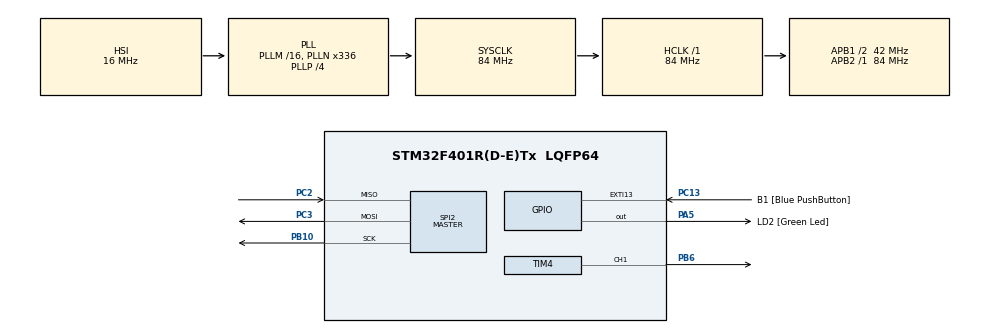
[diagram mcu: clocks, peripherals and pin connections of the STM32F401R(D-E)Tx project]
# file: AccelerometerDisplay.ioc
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Mcu.Family=STM32F4
Mcu.Name=STM32F401R(D-E)Tx
Mcu.Package=LQFP64
NVIC.PriorityGroup=NVIC_PRIORITYGROUP_4
NVIC.TIM5_IRQn=true\:0\:0\:false\:false\:true\:false\:true\:true
NVIC.TimeBase=TIM5_IRQn
NVIC.TimeBaseIP=TIM5
PA13.GPIO_Label=TMS
PA13.Signal=SYS_JTMS-SWDIO
PA14.GPIO_Label=TCK
PA14.Signal=SYS_JTCK-SWCLK
PA2.GPIO_Label=USART_TX
PA2.GPIO_Mode=GPIO_MODE_AF_PP
PA2.GPIO_PuPd=GPIO_NOPULL
PA2.GPIO_Speed=GPIO_SPEED_FREQ_LOW
PA2.Signal=USART2_TX
PA3.GPIO_Label=USART_RX
PA3.GPIO_Mode=GPIO_MODE_AF_PP
PA3.GPIO_PuPd=GPIO_NOPULL
PA3.GPIO_Speed=GPIO_SPEED_FREQ_LOW
PA3.Signal=USART2_RX
PA5.GPIO_Label=LD2 [Green Led]
PA5.GPIO_Mode=GPIO_MODE_OUTPUT_PP
PA5.GPIO_PuPd=GPIO_NOPULL
PA5.GPIO_Speed=GPIO_SPEED_FREQ_LOW
PA5.Signal=GPIO_Output
PB10.Mode=Full_Duplex_Master
PB10.Signal=SPI2_SCK
PB3.GPIO_Label=SWO
PB3.Signal=SYS_JTDO-SWO
PB6.Signal=S_TIM4_CH1
PC13-ANTI_TAMP.GPIO_Label=B1 [Blue PushButton]
PC13-ANTI_TAMP.GPIO_ModeDefaultEXTI=GPIO_MODE_IT_FALLING
PC13-ANTI_TAMP.GPIO_PuPd=GPIO_NOPULL
PC13-ANTI_TAMP.Signal=GPXTI13
PC14-OSC32_IN.Signal=RCC_OSC32_IN
PC15-OSC32_OUT.Signal=RCC_OSC32_OUT
PC2.Mode=Full_Duplex_Master
PC2.Signal=SPI2_MISO
PC3.Mode=Full_Duplex_Master
PC3.Signal=SPI2_MOSI
PH0\ -\ OSC_IN.Signal=RCC_OSC_IN
PH1\ -\ OSC_OUT.Signal=RCC_OSC_OUT
ProjectManager.HeapSize=0x200
ProjectManager.StackSize=0x400
ProjectManager.TargetToolchain=STM32CubeIDE
RCC.AHBFreq_Value=84000000
RCC.APB1CLKDivider=RCC_HCLK_DIV2
RCC.APB1Freq_Value=42000000
RCC.APB1TimFreq_Value=84000000
RCC.APB2Freq_Value=84000000
RCC.APB2TimFreq_Value=84000000
RCC.CortexFreq_Value=84000000
RCC.HCLKFreq_Value=84000000
RCC.HSE_VALUE=8000000
RCC.HSI_VALUE=16000000
RCC.LSE_VALUE=32768
RCC.PLLN=336
RCC.PLLP=RCC_PLLP_DIV4
RCC.PLLQ=7
RCC.SYSCLKFreq_VALUE=84000000
RCC.SYSCLKSource=RCC_SYSCLKSOURCE_PLLCLK
RCC.VCOOutputFreq_Value=336000000
SH.S_TIM4_CH1.0=TIM4_CH1,PWM Generation1 CH1
SPI2.Direction=SPI_DIRECTION_2LINES
SPI2.Mode=SPI_MODE_MASTER
SPI2.VirtualType=VM_MASTER
TIM4.AutoReloadPreload=TIM_AUTORELOAD_PRELOAD_ENABLE
TIM4.Channel-PWM\ Generation1\ CH1=TIM_CHANNEL_1
TIM4.ClockDivision=TIM_CLOCKDIVISION_DIV1
TIM4.Period=1000-1
TIM4.Prescaler=84-1
TIM4.Pulse-PWM\ Generation1\ CH1=500
VP_SYS_VS_tim5.Mode=TIM5
VP_TIM4_VS_ClockSourceINT.Mode=Internal
board=NUCLEO-F401RE

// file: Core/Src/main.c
/* USER CODE BEGIN Header */
/**
  ******************************************************************************
  * @file           : main.c
  * @brief          : Main program body
  ******************************************************************************
  * @attention
  *
  * Copyright (c) 2022 STMicroelectronics.
  * All rights reserved.
  *
  * This software is licensed under terms that can be found in the LICENSE file
  * in the root directory of this software component.
  * If no LICENSE file comes with this software, it is provided AS-IS.
  *
  ******************************************************************************
  */
/* USER CODE END Header */
#include "main.h"

/* USER CODE BEGIN Includes */
#include <stdio.h>
#include "FreeRTOS.h"
#include "task.h"
#include "FreeRTOSConfig.h"

/* USER CODE END Includes */

SPI_HandleTypeDef hspi2;

TIM_HandleTypeDef htim4;

/* USER CODE BEGIN PV */
#define DWT_CTRL ((volatile uint32_t*)0xE0001000)

/* USER CODE END PV */

void SystemClock_Config(void);
static void MX_GPIO_Init(void);
static void MX_SPI2_Init(void);
static void MX_TIM4_Init(void);
/* USER CODE BEGIN PFP */
static void task1_handler(void * parameters);
static void task2_handler(void * parameters);

/* USER CODE END PFP */

int main(void)
{
  /* USER CODE BEGIN 1 */
  TaskHandle_t task1_handle;
  TaskHandle_t task2_handle;
  BaseType_t status;

  /* USER CODE END 1 */

  /* MCU Configuration--------------------------------------------------------*/

  /* Reset of all peripherals, Initializes the Flash interface and the Systick. */
  HAL_Init();

  /* Configure the system clock */
  SystemClock_Config();

  /* Initialize all configured peripherals */
  MX_GPIO_Init();
  MX_SPI2_Init();
  MX_TIM4_Init();
  /* USER CODE BEGIN 2 */
  uint8_t test[4];
  test[0] = 0xAA;
  test[1] = 0x55;
  test[2] = 0x11;
  test[3] = 0x33;
  HAL_TIM_PWM_Start(&htim4, TIM_CHANNEL_1);
  HAL_SPI_Transmit(&hspi2, test, sizeof(test), 1000);
  TIM4->CCR1 = 0;
  while(1);
  *DWT_CTRL |= (1<<0);  // Turn on cycle counting

  SEGGER_SYSVIEW_Conf();

  SEGGER_SYSVIEW_Start();

  status = xTaskCreate(task1_handler, "Task 1", 200, "Hello world from Task-1", 2, &task1_handle);
  configASSERT(status == pdPASS);

  status = xTaskCreate(task2_handler, "Task 2", 200, "Hello world from Task-2", 2, &task2_handle);
  configASSERT(status == pdPASS);

  //start the freeRTOS scheduler
  vTaskStartScheduler();

  //if the control comes here, then the launch has failed due to insuficient memory in heap
  /* USER CODE END 2 */

  /* Infinite loop */
  while (1)
  {

  }
}

void SystemClock_Config(void)
{
  RCC_OscInitTypeDef RCC_OscInitStruct = {0};
  RCC_ClkInitTypeDef RCC_ClkInitStruct = {0};

  /** Configure the main internal regulator output voltage
  */
  __HAL_RCC_PWR_CLK_ENABLE();
  __HAL_PWR_VOLTAGESCALING_CONFIG(PWR_REGULATOR_VOLTAGE_SCALE2);

  /** Initializes the RCC Oscillators according to the specified parameters
  * in the RCC_OscInitTypeDef structure.
  */
  RCC_OscInitStruct.OscillatorType = RCC_OSCILLATORTYPE_HSI;
  RCC_OscInitStruct.HSIState = RCC_HSI_ON;
  RCC_OscInitStruct.HSICalibrationValue = RCC_HSICALIBRATION_DEFAULT;
  RCC_OscInitStruct.PLL.PLLState = RCC_PLL_ON;
  RCC_OscInitStruct.PLL.PLLSource = RCC_PLLSOURCE_HSI;
  RCC_OscInitStruct.PLL.PLLM = 16;
  RCC_OscInitStruct.PLL.PLLN = 336;
  RCC_OscInitStruct.PLL.PLLP = RCC_PLLP_DIV4;
  RCC_OscInitStruct.PLL.PLLQ = 7;
  if (HAL_RCC_OscConfig(&RCC_OscInitStruct) != HAL_OK)
  {
    Error_Handler();
  }

  /** Initializes the CPU, AHB and APB buses clocks
  */
  RCC_ClkInitStruct.ClockType = RCC_CLOCKTYPE_HCLK|RCC_CLOCKTYPE_SYSCLK
                              |RCC_CLOCKTYPE_PCLK1|RCC_CLOCKTYPE_PCLK2;
  RCC_ClkInitStruct.SYSCLKSource = RCC_SYSCLKSOURCE_PLLCLK;
  RCC_ClkInitStruct.AHBCLKDivider = RCC_SYSCLK_DIV1;
  RCC_ClkInitStruct.APB1CLKDivider = RCC_HCLK_DIV2;
  RCC_ClkInitStruct.APB2CLKDivider = RCC_HCLK_DIV1;

  if (HAL_RCC_ClockConfig(&RCC_ClkInitStruct, FLASH_LATENCY_2) != HAL_OK)
  {
    Error_Handler();
  }
}

static void MX_SPI2_Init(void)
{

  /* SPI2 parameter configuration*/
  hspi2.Instance = SPI2;
  hspi2.Init.Mode = SPI_MODE_MASTER;
  hspi2.Init.Direction = SPI_DIRECTION_2LINES;
  hspi2.Init.DataSize = SPI_DATASIZE_8BIT;
  hspi2.Init.CLKPolarity = SPI_POLARITY_LOW;
  hspi2.Init.CLKPhase = SPI_PHASE_1EDGE;
  hspi2.Init.NSS = SPI_NSS_SOFT;
  hspi2.Init.BaudRatePrescaler = SPI_BAUDRATEPRESCALER_2;
  hspi2.Init.FirstBit = SPI_FIRSTBIT_MSB;
  hspi2.Init.TIMode = SPI_TIMODE_DISABLE;
  hspi2.Init.CRCCalculation = SPI_CRCCALCULATION_DISABLE;
  hspi2.Init.CRCPolynomial = 10;
  if (HAL_SPI_Init(&hspi2) != HAL_OK)
  {
    Error_Handler();
  }

}

static void MX_TIM4_Init(void)
{

  TIM_ClockConfigTypeDef sClockSourceConfig = {0};
  TIM_MasterConfigTypeDef sMasterConfig = {0};
  TIM_OC_InitTypeDef sConfigOC = {0};

  htim4.Instance = TIM4;
  htim4.Init.Prescaler = 84-1;
  htim4.Init.CounterMode = TIM_COUNTERMODE_UP;
  htim4.Init.Period = 1000-1;
  htim4.Init.ClockDivision = TIM_CLOCKDIVISION_DIV1;
  htim4.Init.AutoReloadPreload = TIM_AUTORELOAD_PRELOAD_ENABLE;
  if (HAL_TIM_Base_Init(&htim4) != HAL_OK)
  {
    Error_Handler();
  }
  sClockSourceConfig.ClockSource = TIM_CLOCKSOURCE_INTERNAL;
  if (HAL_TIM_ConfigClockSource(&htim4, &sClockSourceConfig) != HAL_OK)
  {
    Error_Handler();
  }
  if (HAL_TIM_PWM_Init(&htim4) != HAL_OK)
  {
    Error_Handler();
  }
  sMasterConfig.MasterOutputTrigger = TIM_TRGO_RESET;
  sMasterConfig.MasterSlaveMode = TIM_MASTERSLAVEMODE_DISABLE;
  if (HAL_TIMEx_MasterConfigSynchronization(&htim4, &sMasterConfig) != HAL_OK)
  {
    Error_Handler();
  }
  sConfigOC.OCMode = TIM_OCMODE_PWM1;
  sConfigOC.Pulse = 500;
  sConfigOC.OCPolarity = TIM_OCPOLARITY_HIGH;
  sConfigOC.OCFastMode = TIM_OCFAST_DISABLE;
  if (HAL_TIM_PWM_ConfigChannel(&htim4, &sConfigOC, TIM_CHANNEL_1) != HAL_OK)
  {
    Error_Handler();
  }
  HAL_TIM_MspPostInit(&htim4);

}

static void MX_GPIO_Init(void)
{
  GPIO_InitTypeDef GPIO_InitStruct = {0};

  /* GPIO Ports Clock Enable */
  __HAL_RCC_GPIOC_CLK_ENABLE();
  __HAL_RCC_GPIOH_CLK_ENABLE();
  __HAL_RCC_GPIOA_CLK_ENABLE();
  __HAL_RCC_GPIOB_CLK_ENABLE();

  /*Configure GPIO pin Output Level */
  HAL_GPIO_WritePin(LD2_GPIO_Port, LD2_Pin, GPIO_PIN_RESET);

  /*Configure GPIO pin : B1_Pin */
  GPIO_InitStruct.Pin = B1_Pin;
  GPIO_InitStruct.Mode = GPIO_MODE_IT_FALLING;
  GPIO_InitStruct.Pull = GPIO_NOPULL;
  HAL_GPIO_Init(B1_GPIO_Port, &GPIO_InitStruct);

  /*Configure GPIO pins : USART_TX_Pin USART_RX_Pin */
  GPIO_InitStruct.Pin = USART_TX_Pin|USART_RX_Pin;
  GPIO_InitStruct.Mode = GPIO_MODE_AF_PP;
  GPIO_InitStruct.Pull = GPIO_NOPULL;
  GPIO_InitStruct.Speed = GPIO_SPEED_FREQ_LOW;
  GPIO_InitStruct.Alternate = GPIO_AF7_USART2;
  HAL_GPIO_Init(GPIOA, &GPIO_InitStruct);

  /*Configure GPIO pin : LD2_Pin */
  GPIO_InitStruct.Pin = LD2_Pin;
  GPIO_InitStruct.Mode = GPIO_MODE_OUTPUT_PP;
  GPIO_InitStruct.Pull = GPIO_NOPULL;
  GPIO_InitStruct.Speed = GPIO_SPEED_FREQ_LOW;
  HAL_GPIO_Init(LD2_GPIO_Port, &GPIO_InitStruct);

}

/* USER CODE BEGIN 4 */
static void task1_handler(void * parameters){

	while(1){
		printf("%s\n",(char*)parameters);
//		taskYIELD();
	}
}

static void task2_handler(void * parameters){

	while(1){
		printf("%s\n",(char*)parameters);
//		taskYIELD();
	}
}
/* USER CODE END 4 */

void HAL_TIM_PeriodElapsedCallback(TIM_HandleTypeDef *htim)
{
  if (htim->Instance == TIM5) {
    HAL_IncTick();
  }
}

void Error_Handler(void)
{
  __disable_irq();
  while (1)
  {
  }
}
